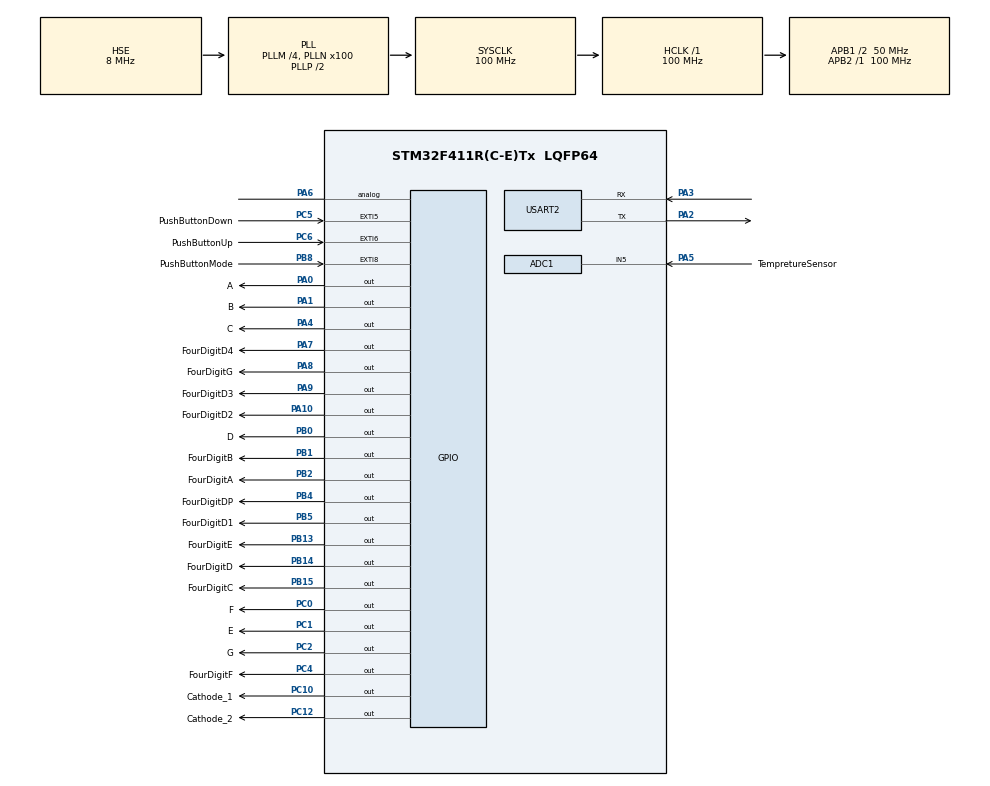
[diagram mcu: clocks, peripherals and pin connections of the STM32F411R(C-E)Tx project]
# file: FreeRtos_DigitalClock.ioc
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ADC1.Channel-0\#ChannelRegularConversion=ADC_CHANNEL_5
ADC1.NbrOfConversionFlag=1
ADC1.Rank-0\#ChannelRegularConversion=1
ADC1.SamplingTime-0\#ChannelRegularConversion=ADC_SAMPLETIME_3CYCLES
ADC1.master=1
FREERTOS.Mutexes01=UartMutex,Dynamic,NULL
FREERTOS.Tasks01=ReadTempreture,24,256,ReadTempretureTask,Default,NULL,Dynamic,NULL,NULL;ShowTimeMode,40,128,ShowTimeModeTask,Default,NULL,Dynamic,NULL,NULL;PushButtons,16,128,PushButtonsTask,Default,NULL,Dynamic,NULL,NULL
FREERTOS.configTOTAL_HEAP_SIZE=15360
FREERTOS.configUSE_NEWLIB_REENTRANT=1
Mcu.Family=STM32F4
Mcu.Name=STM32F411R(C-E)Tx
Mcu.Package=LQFP64
NVIC.EXTI9_5_IRQn=true\:5\:0\:false\:false\:true\:true\:true\:true\:true
NVIC.PriorityGroup=NVIC_PRIORITYGROUP_4
NVIC.TIM3_IRQn=true\:15\:0\:false\:false\:true\:false\:false\:true\:true
NVIC.TimeBase=TIM3_IRQn
NVIC.TimeBaseIP=TIM3
PA0-WKUP.GPIO_Label=A
PA0-WKUP.Signal=GPIO_Output
PA1.GPIO_Label=B
PA1.Signal=GPIO_Output
PA10.GPIO_Label=FourDigitD2
PA10.Signal=GPIO_Output
PA13.GPIO_Label=TMS
PA13.Mode=Serial_Wire
PA13.Signal=SYS_JTMS-SWDIO
PA14.GPIO_Label=TCK
PA14.Mode=Serial_Wire
PA14.Signal=SYS_JTCK-SWCLK
PA2.Mode=Asynchronous
PA2.Signal=USART2_TX
PA3.Mode=Asynchronous
PA3.Signal=USART2_RX
PA4.GPIO_Label=C
PA4.Signal=GPIO_Output
PA5.GPIO_Label=TempretureSensor
PA5.Signal=ADCx_IN5
PA6.Signal=GPIO_Analog
PA7.GPIO_Label=FourDigitD4
PA7.Signal=GPIO_Output
PA8.GPIO_Label=FourDigitG
PA8.Signal=GPIO_Output
PA9.GPIO_Label=FourDigitD3
PA9.Signal=GPIO_Output
PB0.GPIO_Label=D
PB0.Signal=GPIO_Output
PB1.GPIO_Label=FourDigitB
PB1.Signal=GPIO_Output
PB13.GPIO_Label=FourDigitE
PB13.Signal=GPIO_Output
PB14.GPIO_Label=FourDigitD
PB14.Signal=GPIO_Output
PB15.GPIO_Label=FourDigitC
PB15.Signal=GPIO_Output
PB2.GPIO_Label=FourDigitA
PB2.Signal=GPIO_Output
PB3.GPIO_Label=SWO
PB3.Signal=SYS_JTDO-SWO
PB4.GPIO_Label=FourDigitDP
PB4.Signal=GPIO_Output
PB5.GPIO_Label=FourDigitD1
PB5.Signal=GPIO_Output
PB8.GPIO_Label=PushButtonMode
PB8.GPIO_PuPd=GPIO_PULLDOWN
PB8.Signal=GPXTI8
PC0.GPIO_Label=F
PC0.Signal=GPIO_Output
PC1.GPIO_Label=E
PC1.Signal=GPIO_Output
PC10.GPIO_Label=Cathode_1
PC10.Signal=GPIO_Output
PC12.GPIO_Label=Cathode_2
PC12.Signal=GPIO_Output
PC14-OSC32_IN.Mode=LSE-External-Clock-Source
PC14-OSC32_IN.Signal=RCC_OSC32_IN
PC15-OSC32_OUT.Mode=LSE-External-Clock-Source
PC15-OSC32_OUT.Signal=RCC_OSC32_OUT
PC2.GPIO_Label=G
PC2.Signal=GPIO_Output
PC4.GPIO_Label=FourDigitF
PC4.Signal=GPIO_Output
PC5.GPIO_Label=PushButtonDown
PC5.GPIO_PuPd=GPIO_PULLDOWN
PC5.Signal=GPXTI5
PC6.GPIO_Label=PushButtonUp
PC6.GPIO_PuPd=GPIO_PULLDOWN
PC6.Signal=GPXTI6
PH0\ -\ OSC_IN.Mode=HSE-External-Oscillator
PH0\ -\ OSC_IN.Signal=RCC_OSC_IN
PH1\ -\ OSC_OUT.Mode=HSE-External-Oscillator
PH1\ -\ OSC_OUT.Signal=RCC_OSC_OUT
ProjectManager.HeapSize=0x200
ProjectManager.StackSize=0x400
ProjectManager.TargetToolchain=STM32CubeIDE
RCC.48MHZClocksFreq_Value=50000000
RCC.AHBFreq_Value=100000000
RCC.APB1CLKDivider=RCC_HCLK_DIV2
RCC.APB1Freq_Value=50000000
RCC.APB1TimFreq_Value=100000000
RCC.APB2Freq_Value=100000000
RCC.APB2TimFreq_Value=100000000
RCC.CortexFreq_Value=100000000
RCC.FLatency-AdvancedSettings=FLASH_LATENCY_3
RCC.HCLKFreq_Value=100000000
RCC.HSE_VALUE=8000000
RCC.HSI_VALUE=16000000
RCC.LSE_VALUE=32768
RCC.PLLM=4
RCC.PLLN=100
RCC.PLLSourceVirtual=RCC_PLLSOURCE_HSE
RCC.SYSCLKFreq_VALUE=100000000
RCC.SYSCLKSource=RCC_SYSCLKSOURCE_PLLCLK
RCC.VCOOutputFreq_Value=200000000
SH.ADCx_IN5.0=ADC1_IN5,IN5
USART2.VirtualMode=VM_ASYNC
VP_FREERTOS_VS_CMSIS_V2.Mode=CMSIS_V2
VP_RTC_VS_RTC_Activate.Mode=RTC_Enabled
VP_SYS_VS_tim3.Mode=TIM3
board=NUCLEO-F411RE

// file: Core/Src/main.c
/* USER CODE BEGIN Header */
/**
  ******************************************************************************
  * @file           : main.c
  * @brief          : Main program body
  ******************************************************************************
  * @attention
  *
  * Copyright (c) 2024 STMicroelectronics.
  * All rights reserved.
  *
  * This software is licensed under terms that can be found in the LICENSE file
  * in the root directory of this software component.
  * If no LICENSE file comes with this software, it is provided AS-IS.
  *
  ******************************************************************************
  */
/* USER CODE END Header */
#include "main.h"
#include "cmsis_os.h"
#include "adc.h"
#include "rtc.h"
#include "usart.h"
#include "gpio.h"

/* USER CODE BEGIN Includes */
#include <stdio.h>
/* USER CODE END Includes */

/* USER CODE BEGIN PV */

uint16_t reading[1];

/* USER CODE END PV */

void SystemClock_Config(void);
void MX_FREERTOS_Init(void);

int main(void)
{

  /* MCU Configuration--------------------------------------------------------*/

  /* Reset of all peripherals, Initializes the Flash interface and the Systick. */
  HAL_Init();

  /* Configure the system clock */
  SystemClock_Config();

  /* Initialize all configured peripherals */
  MX_GPIO_Init();
  MX_USART2_UART_Init();
  MX_RTC_Init();
  MX_ADC1_Init();

  /* Init scheduler */
  osKernelInitialize();  /* Call init function for freertos objects (in freertos.c) */
  MX_FREERTOS_Init();

  /* Start scheduler */
  osKernelStart();

  /* We should never get here as control is now taken by the scheduler */
  /* Infinite loop */
  while (1)
  {

  }
}

void SystemClock_Config(void)
{
  RCC_OscInitTypeDef RCC_OscInitStruct = {0};
  RCC_ClkInitTypeDef RCC_ClkInitStruct = {0};

  /** Configure the main internal regulator output voltage
  */
  __HAL_RCC_PWR_CLK_ENABLE();
  __HAL_PWR_VOLTAGESCALING_CONFIG(PWR_REGULATOR_VOLTAGE_SCALE1);

  /** Initializes the RCC Oscillators according to the specified parameters
  * in the RCC_OscInitTypeDef structure.
  */
  RCC_OscInitStruct.OscillatorType = RCC_OSCILLATORTYPE_LSI|RCC_OSCILLATORTYPE_HSE;
  RCC_OscInitStruct.HSEState = RCC_HSE_ON;
  RCC_OscInitStruct.LSIState = RCC_LSI_ON;
  RCC_OscInitStruct.PLL.PLLState = RCC_PLL_ON;
  RCC_OscInitStruct.PLL.PLLSource = RCC_PLLSOURCE_HSE;
  RCC_OscInitStruct.PLL.PLLM = 4;
  RCC_OscInitStruct.PLL.PLLN = 100;
  RCC_OscInitStruct.PLL.PLLP = RCC_PLLP_DIV2;
  RCC_OscInitStruct.PLL.PLLQ = 4;
  if (HAL_RCC_OscConfig(&RCC_OscInitStruct) != HAL_OK)
  {
    Error_Handler();
  }

  /** Initializes the CPU, AHB and APB buses clocks
  */
  RCC_ClkInitStruct.ClockType = RCC_CLOCKTYPE_HCLK|RCC_CLOCKTYPE_SYSCLK
                              |RCC_CLOCKTYPE_PCLK1|RCC_CLOCKTYPE_PCLK2;
  RCC_ClkInitStruct.SYSCLKSource = RCC_SYSCLKSOURCE_PLLCLK;
  RCC_ClkInitStruct.AHBCLKDivider = RCC_SYSCLK_DIV1;
  RCC_ClkInitStruct.APB1CLKDivider = RCC_HCLK_DIV2;
  RCC_ClkInitStruct.APB2CLKDivider = RCC_HCLK_DIV1;

  if (HAL_RCC_ClockConfig(&RCC_ClkInitStruct, FLASH_LATENCY_3) != HAL_OK)
  {
    Error_Handler();
  }
}

void HAL_TIM_PeriodElapsedCallback(TIM_HandleTypeDef *htim)
{
  if (htim->Instance == TIM3) {
    HAL_IncTick();
  }
}

void Error_Handler(void)
{
  __disable_irq();
  while (1)
  {
  }
}

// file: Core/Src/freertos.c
/* USER CODE BEGIN Header */
/**
  ******************************************************************************
  * File Name          : freertos.c
  * Description        : Code for freertos applications
  ******************************************************************************
  * @attention
  *
  * Copyright (c) 2024 STMicroelectronics.
  * All rights reserved.
  *
  * This software is licensed under terms that can be found in the LICENSE file
  * in the root directory of this software component.
  * If no LICENSE file comes with this software, it is provided AS-IS.
  *
  ******************************************************************************
  */
/* USER CODE END Header */

#include "FreeRTOS.h"
#include "task.h"
#include "main.h"
#include "cmsis_os.h"

/* USER CODE BEGIN Includes */
#include <stdio.h>
#include "usart.h"
#include "gpio.h"
#include "rtc.h"
/* USER CODE END Includes */

/* USER CODE BEGIN PTD */
typedef enum {
    ShowTime,
    SetMinutes,
	SetHours,
	Set24or12,
	SetAMPM
} StateType;
/* USER CODE END PTD */

/* USER CODE BEGIN PD */
#define TOTAL_MODES 3
/* USER CODE END PD */

/* USER CODE BEGIN Variables */

uint16_t number;
uint8_t TaskNumber;
RTC_TimeTypeDef Time ;
RTC_DateTypeDef Date;
uint8_t Tempreture;
volatile StateType currentState = ShowTime;
/* USER CODE END Variables */
/* Definitions for ReadTempreture */
osThreadId_t ReadTempretureHandle;
const osThreadAttr_t ReadTempreture_attributes = {
  .name = "ReadTempreture",
  .stack_size = 256 * 4,
  .priority = (osPriority_t) osPriorityNormal,
};
/* Definitions for ShowTimeMode */
osThreadId_t ShowTimeModeHandle;
const osThreadAttr_t ShowTimeMode_attributes = {
  .name = "ShowTimeMode",
  .stack_size = 128 * 4,
  .priority = (osPriority_t) osPriorityHigh,
};
/* Definitions for PushButtons */
osThreadId_t PushButtonsHandle;
const osThreadAttr_t PushButtons_attributes = {
  .name = "PushButtons",
  .stack_size = 128 * 4,
  .priority = (osPriority_t) osPriorityBelowNormal,
};
/* Definitions for UartMutex */
osMutexId_t UartMutexHandle;
const osMutexAttr_t UartMutex_attributes = {
  .name = "UartMutex"
};

/* USER CODE BEGIN FunctionPrototypes */
void HAL_GPIO_EXTI_Callback(uint16_t GPIO_Pin);
void PushButtonDebounce(void);
/* USER CODE END FunctionPrototypes */

void ReadTempretureTask(void *argument);
void ShowTimeModeTask(void *argument);
void PushButtonsTask(void *argument);

void MX_FREERTOS_Init(void); /* (MISRA C 2004 rule 8.1) */

void MX_FREERTOS_Init(void) {
  /* Create the mutex(es) */
  /* creation of UartMutex */
  UartMutexHandle = osMutexNew(&UartMutex_attributes);

  /* Create the thread(s) */
  /* creation of ReadTempreture */
  ReadTempretureHandle = osThreadNew(ReadTempretureTask, NULL, &ReadTempreture_attributes);

  /* creation of ShowTimeMode */
  ShowTimeModeHandle = osThreadNew(ShowTimeModeTask, NULL, &ShowTimeMode_attributes);

  /* creation of PushButtons */
  PushButtonsHandle = osThreadNew(PushButtonsTask, NULL, &PushButtons_attributes);

}

void ReadTempretureTask(void *argument)
{
  /* USER CODE BEGIN ReadTempretureTask */
  /* Infinite loop */
  for(;;)
  {
	  Tempreture = ReadTemperature();
	  osDelay(pdMS_TO_TICKS(1000));
  }
  /* USER CODE END ReadTempretureTask */
}

void ShowTimeModeTask(void *argument)
{
  /* USER CODE BEGIN ShowTimeModeTask */
		Time.Hours = 12;
		Time.Minutes = 00;
		Time.Seconds = 00;
		HAL_RTC_SetTime(&hrtc, &Time, RTC_FORMAT_BIN);
	  /* Infinite loop */
	  for(;;)
	  {
		  if(currentState ==ShowTime)
			  DisplayTime(Time,Date,UartMutexHandle);
		  if(currentState == SetMinutes)
		  DisplaySetMinutes(Time, Date);
		  if(currentState == SetHours)
		  DisplaySetHours(Time,Date);
		  if(currentState == Set24or12)
			  ShowTimeFormat(Time,Date);
		  if (currentState == SetAMPM)
		  DisplayAmPm();
		  //ReadTemperature();
		  WriteNumber(Tempreture);
	  }
  /* USER CODE END ShowTimeModeTask */
}

void PushButtonsTask(void *argument)
{
  /* USER CODE BEGIN PushButtonsTask */
  /* Infinite loop */
  GPIO_PinState Mode, ModePrev = GPIO_PIN_RESET;
  GPIO_PinState Up, UpPrev = GPIO_PIN_RESET;
  GPIO_PinState Down, DownPrev = GPIO_PIN_RESET;
  uint32_t LastTimeMode = 0, LastTimeUp = 0, LastTimeDown = 0;
  const uint32_t debounceDelay = 50; // Debounce time in milliseconds
  const uint32_t longPressThreshold = 1000; // Long press threshold in milliseconds for Mode button

  for(;;)
  {
    // Read the current state of each button
    Mode = HAL_GPIO_ReadPin(PushButtonMode_GPIO_Port, PushButtonMode_Pin);
    Up = HAL_GPIO_ReadPin(PushButtonUp_GPIO_Port, PushButtonUp_Pin);
    Down = HAL_GPIO_ReadPin(PushButtonDown_GPIO_Port, PushButtonDown_Pin);

    if (osMutexAcquire(UartMutexHandle, 20) == osOK)
    {
      // Check Mode button for short/long press
      if(Mode != ModePrev && (HAL_GetTick() - LastTimeMode) > debounceDelay)
      {
        if(Mode == GPIO_PIN_SET)
        {
          uint32_t pressTime = HAL_GetTick();
          while((Mode == GPIO_PIN_SET) && (HAL_GetTick() - pressTime < longPressThreshold))
          {
            Mode = HAL_GPIO_ReadPin(PushButtonMode_GPIO_Port, PushButtonMode_Pin);
            osDelay(1);
          }
          if(Mode == GPIO_PIN_SET)
          {
        	  if(currentState == ShowTime)
        	  {
        	  currentState = SetMinutes;
        	  }
        	  else
        	  {
        		  currentState = ShowTime;
        	  }
        	  printf("Mode Long Pressed\n\r");
          }
          else
          {
            printf("Mode Short Pressed\n\r");
            if (currentState == SetMinutes)
            	currentState = SetHours;
            else if (currentState == SetHours)
            	currentState = Set24or12;
            else if(currentState == Set24or12)
            {
            	if(hrtc.Init.HourFormat == RTC_HOURFORMAT_24)
            	currentState = SetMinutes;
            	else if (hrtc.Init.HourFormat == RTC_HOURFORMAT_12)
            		currentState = SetAMPM;
            }
            else if (currentState == SetAMPM)
            	currentState = SetMinutes;
          }
        }
        LastTimeMode = HAL_GetTick();
      }

      // Check Up button for short press only
      if(Up != UpPrev && (HAL_GetTick() - LastTimeUp) > debounceDelay)
      {
        if(Up == GPIO_PIN_SET)
        {
        		if(currentState == SetMinutes)
        		AddOneMinuteToRTC(Time,Date);
        		else if(currentState == SetHours)
        		{
        			AddOneHourToRTC(Time,Date);
        		}
         		else if (currentState == Set24or12)
         			ChangeTimeFormat();
         		else if(currentState == SetAMPM)
         		{
         			ChangeAMPMFormat(Time,Date);
         		}
          printf("Up Short Pressed\n\r");
        }
        LastTimeUp = HAL_GetTick();
      }

      // Check Down button for short press only
      if(Down != DownPrev && (HAL_GetTick() - LastTimeDown) > debounceDelay)
      {
        if(Down == GPIO_PIN_SET)
        {
        	     	 if(currentState == SetMinutes)
        	     	 {
        	 		 SubtractOneMinuteFromRTC(Time, Date);
        	     	 }
        	     	 else if(currentState == SetHours)
        	     	 {
        	     		SubtractOneHourFromRTC(Time, Date);
        	     	 }
              		else if (currentState == Set24or12)
              			ChangeTimeFormat();
              		else if(currentState == SetAMPM)
              		{
              			ChangeAMPMFormat(Time,Date);
              		}
          printf("Down Short Pressed\n\r");
        }
        LastTimeDown = HAL_GetTick();
      }

      // Update the previous state for each button
      ModePrev = Mode;
      UpPrev = Up;
      DownPrev = Down;

      osMutexRelease(UartMutexHandle);
    }
    osDelay(1); // Adjust this delay as per your requirement
  }
  /* USER CODE END PushButtonsTask */
}
